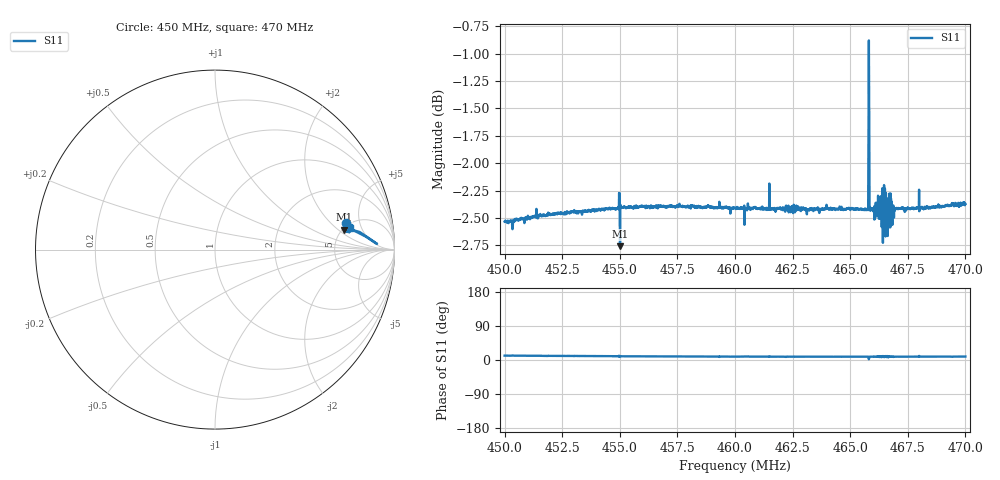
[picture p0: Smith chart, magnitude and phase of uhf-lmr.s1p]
! Calibrated averaged scanner-service zoom
# Hz S RI R 50
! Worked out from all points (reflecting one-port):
!   2001 points, 450 MHz to 470 MHz, reference 50 ohm
!   lowest |S11| = -2.8 dB at 455.01 MHz (marker M1), VSWR 6.35, Z = 258 + j123 ohm
!   phase of S11 starts at 12 deg and turns -2 deg over the sweep
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4.5e8  0.732 0.1491
4.525e8  0.7403 0.1407
4.5486e8  0.7452 0.1325
4.55e8  0.7425 0.1209
4.5501e8  0.7194 0.1117
4.575e8  0.7498 0.1237
4.6e8  0.7484 0.1185
4.625e8  0.7484 0.1147
4.65e8  0.748 0.1138
4.6568e8  0.748 0.1152
4.6569e8  0.7473 0.1152
4.6572e8  0.7479 0.1145
4.6573e8  0.7477 0.115
4.6589e8  0.7491 0.1149
4.6591e8  0.749 0.1147
4.6593e8  0.7483 0.114
4.6594e8  0.7487 0.1144
4.66e8  0.7462 0.1162
4.6636e8  0.7503 0.1198
4.6641e8  0.7395 0.1166
4.6644e8  0.7452 0.108
4.6651e8  0.7618 0.1333
4.6655e8  0.7622 0.1085
4.6662e8  0.7567 0.1149
4.6672e8  0.7387 0.1079
4.6677e8  0.7569 0.1139
4.675e8  0.7495 0.1165
4.7e8  0.7515 0.1204
